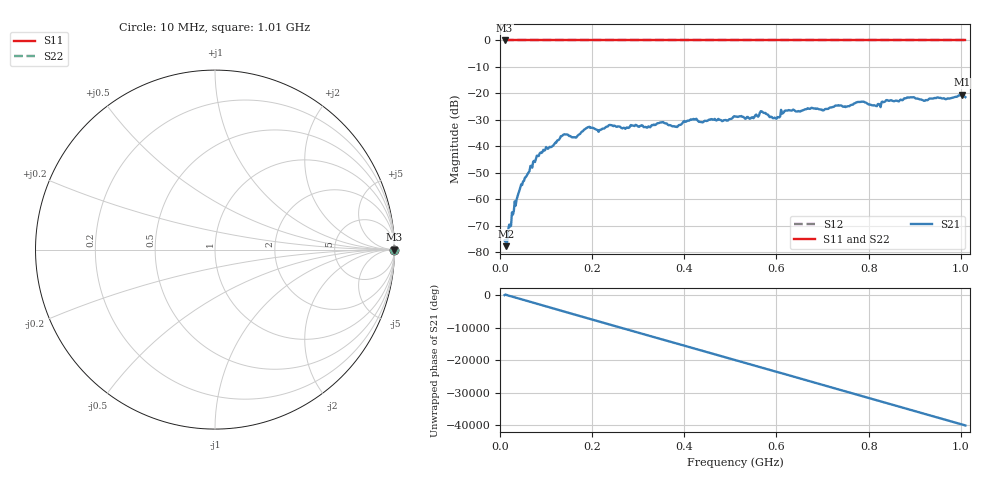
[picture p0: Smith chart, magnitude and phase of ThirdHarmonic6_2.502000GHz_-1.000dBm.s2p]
! 8/17/2025 4:48:29 AM
! C:\ANRITSUVNA\TEMP\TEMP.S2P
! CHANNEL.1
! TR.MEASUREMENT
! RAW.DATA
! RF.CORRECTION.OFF
! AVERAGING.OFF
! IF.BANDWIDTH: 5KHZ
! SWEEPTYPE:  FREQ.SWEEP(Linear)
! Reference Plane Port Info
! PORT:  PORT1  PORT2
! DISTANCE:  0  m  0  m
! TIME:  0  s  0  s
! PHASE.OFFSET:  0  deg.  0  deg.
! LOSS:  0  dB  0  dB
! REF.LOSS:  0  dB  0  dB
! REF.FREQ:  0  Hz  0  Hz
! Power Info
! POWER:  -20  dBm  -20  dBm
! EFF.POWER:  -20  dBm  -20  dBm
! SOURCE.ATTEN:  0  dB  0  dB
! TEST.ATTEN:  0  dB  0  dB
# GHZ S RI R 50.0
! FREQ.GHZ  S11RE  S11IM  S21RE  S21IM  S12RE  S12IM  S22RE  S22IM
!; PortSelection: Port_12
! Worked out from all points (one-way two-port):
!   501 points, 10 MHz to 1.01 GHz, reference 50 ohm
!   highest |S21| = -20.51 dB at 1.002 GHz (marker M1); lowest = -77.6 dB at 14 MHz (marker M2)
!   lowest |S11| = 0.0 dB at 10 MHz (marker M3)
!   |S11| at or under -10 dB: nowhere
!   |S22| runs from 0.0 to 0.0 dB; largest |S21 - S12| = 1.1
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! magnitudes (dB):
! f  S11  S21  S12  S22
! 10 MHz  0.0  -75.5  0.0  0.0
! 14 MHz  0.0  -77.6  0.0  0.0
! 42 MHz  0.0  -56.7  0.0  0.0
! 76 MHz  0.0  -45.9  0.0  0.0
! 136 MHz  0.0  -35.8  0.0  0.0
! 162 MHz  0.0  -36.5  0.0  0.0
! 178 MHz  0.0  -34.4  0.0  0.0
! 192 MHz  0.0  -32.7  0.0  0.0
! 344 MHz  0.0  -31.2  0.0  0.0
! 382 MHz  0.0  -32.5  0.0  0.0
! 416 MHz  0.0  -29.9  0.0  0.0
! 510 MHz  0.0  -28.7  0.0  0.0
! 546 MHz  0.0  -29.0  0.0  0.0
! 568 MHz  0.0  -26.8  0.0  0.0
! 596 MHz  0.0  -29.1  0.0  0.0
! 622 MHz  0.0  -26.5  0.0  0.0
! 678 MHz  0.0  -25.5  0.0  0.0
! 782 MHz  0.0  -23.2  0.0  0.0
! 814 MHz  0.0  -24.6  0.0  0.0
! 844 MHz  0.0  -22.8  0.0  0.0
! 1.002 GHz  0.0  -20.5  0.0  0.0
! 1.01 GHz  0.0  -21.4  0.0  0.0
